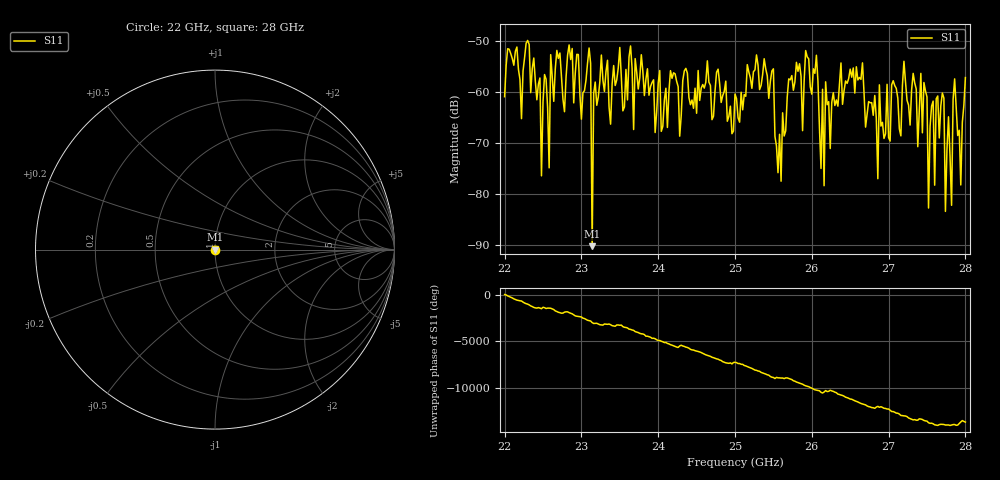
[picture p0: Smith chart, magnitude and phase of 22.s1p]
#  HZ  S  RI  R  50.00
! Rohde & Schwarz ZVA40 4Ports - Version 3.90 - 1145.1110k42 SN: 100403
! Date: 2023-10-04 07:00:39
! Measurement: S12
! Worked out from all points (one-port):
!   301 points, 22 GHz to 28 GHz, reference 50 ohm
!   lowest |S11| = -90.2 dB at 23.14 GHz (marker M1), VSWR 1.00, Z = 50 - j0.00293 ohm
!   |S11| at or under -10 dB: start of sweep to end of sweep
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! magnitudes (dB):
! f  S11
! 22 GHz  -60.9
! 22.3 GHz  -49.8
! 22.48 GHz  -76.4
! 22.52 GHz  -56.5
! 22.76 GHz  -61.4
! 23.1 GHz  -51.3
! 23.14 GHz  -90.2
! 23.18 GHz  -58.0
! 23.5 GHz  -51.2
! 24.26 GHz  -58.9
! 25 GHz  -60.4
! 25.5 GHz  -55.4
! 25.6 GHz  -77.5
! 25.76 GHz  -59.6
! 26.06 GHz  -52.7
! 26.16 GHz  -78.3
! 26.18 GHz  -58.0
! 26.5 GHz  -55.5
! 26.86 GHz  -77.0
! 26.88 GHz  -58.5
! 27.26 GHz  -62.5
! 27.46 GHz  -58.1
! 27.52 GHz  -82.7
! 27.7 GHz  -60.1
! 27.82 GHz  -82.2
! 27.86 GHz  -57.4
! 27.94 GHz  -78.2
! 28 GHz  -57.1
